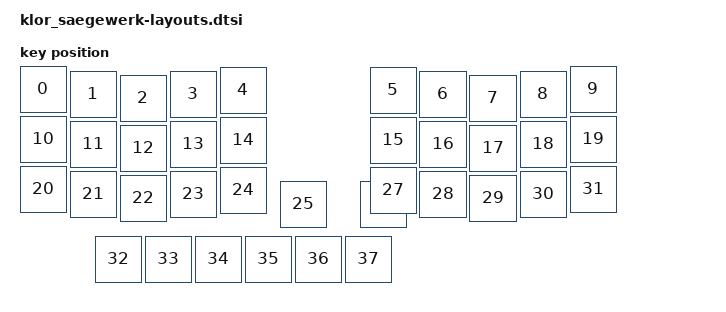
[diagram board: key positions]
/*
 * Copyright (c) 2026 The ZMK Contributors
 *
 * SPDX-License-Identifier: MIT
 */

#include <physical_layouts.dtsi>

/* Physical layout for ZMK Studio / the online keymap editor. Key order matches
 * default_transform's `map` in klor.dtsi (== the keymap bindings order) 1:1.
 * Coordinates are an approximate, non-overlapping visual layout, not exact
 * mechanical dimensions — this is purely editor/UI metadata and has no effect
 * on key function, which comes entirely from the matrix transform below.
 */

/ {
    saegewerk_physical_layout: saegewerk_physical_layout {
        compatible = "zmk,physical-layout";
        display-name = "Saegewerk";

        keys  //                    w   h    x    y     rot    rx    ry
            = <&key_physical_attrs 100 100    0    0       0     0     0>
            , <&key_physical_attrs 100 100  100   10       0     0     0>
            , <&key_physical_attrs 100 100  200   18       0     0     0>
            , <&key_physical_attrs 100 100  300   10       0     0     0>
            , <&key_physical_attrs 100 100  400    2       0     0     0>
            , <&key_physical_attrs 100 100  700    2       0     0     0>
            , <&key_physical_attrs 100 100  800   10       0     0     0>
            , <&key_physical_attrs 100 100  900   18       0     0     0>
            , <&key_physical_attrs 100 100 1000   10       0     0     0>
            , <&key_physical_attrs 100 100 1100    0       0     0     0>
            , <&key_physical_attrs 100 100    0  100       0     0     0>
            , <&key_physical_attrs 100 100  100  110       0     0     0>
            , <&key_physical_attrs 100 100  200  118       0     0     0>
            , <&key_physical_attrs 100 100  300  110       0     0     0>
            , <&key_physical_attrs 100 100  400  102       0     0     0>
            , <&key_physical_attrs 100 100  700  102       0     0     0>
            , <&key_physical_attrs 100 100  800  110       0     0     0>
            , <&key_physical_attrs 100 100  900  118       0     0     0>
            , <&key_physical_attrs 100 100 1000  110       0     0     0>
            , <&key_physical_attrs 100 100 1100  100       0     0     0>
            , <&key_physical_attrs 100 100    0  200       0     0     0>
            , <&key_physical_attrs 100 100  100  210       0     0     0>
            , <&key_physical_attrs 100 100  200  218       0     0     0>
            , <&key_physical_attrs 100 100  300  210       0     0     0>
            , <&key_physical_attrs 100 100  400  202       0     0     0>
            , <&key_physical_attrs 100 100  520  230       0     0     0>
            , <&key_physical_attrs 100 100  680  230       0     0     0>
            , <&key_physical_attrs 100 100  700  202       0     0     0>
            , <&key_physical_attrs 100 100  800  210       0     0     0>
            , <&key_physical_attrs 100 100  900  218       0     0     0>
            , <&key_physical_attrs 100 100 1000  210       0     0     0>
            , <&key_physical_attrs 100 100 1100  200       0     0     0>
            , <&key_physical_attrs 100 100  150  340       0     0     0>
            , <&key_physical_attrs 100 100  250  340       0     0     0>
            , <&key_physical_attrs 100 100  350  340       0     0     0>
            , <&key_physical_attrs 100 100  450  340       0     0     0>
            , <&key_physical_attrs 100 100  550  340       0     0     0>
            , <&key_physical_attrs 100 100  650  340       0     0     0>
            ;
    };
};
